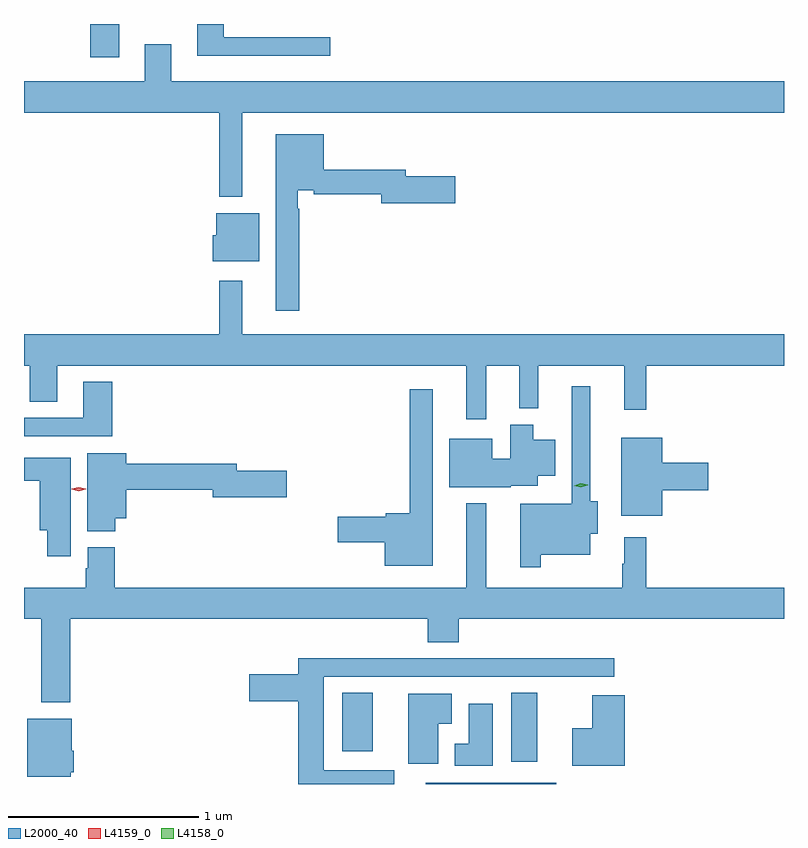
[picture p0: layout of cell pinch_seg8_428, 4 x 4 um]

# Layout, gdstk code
import gdstk
lib = gdstk.Library(unit=1e-6, precision=1e-09)
def R(c, l, rs):  # rectangles x0, y0, x1, y1
    for r in rs: c.add(gdstk.rectangle(r[:2], r[2:], *l))
def P(c, l, *ps):  # polygons
    for p in ps: c.add(gdstk.Polygon(p, *l))
L2000_40 = (2000, 40)
L4158_0 = (4158, 0)
L4159_0 = (4159, 0)

pinch_seg8_428 = lib.new_cell('pinch_seg8_428')
R(pinch_seg8_428, L2000_40, [(291.674,1139.606,292.36,1139.613), (292.124,1139.724,292.261,1140.086), (291.233,1139.778,291.394,1140.086), (289.907,1143.432,290.059,1143.606)])
P(pinch_seg8_428, L2000_40, [(291.172,1143.537),(290.611,1143.537),(290.611,1143.606),(290.471,1143.606),(290.471,1143.44),(291.172,1143.44)],
  [(290.707,1143.14),(293.559,1143.14),(293.559,1143.304),(290.335,1143.304),(290.335,1143.499),(290.195,1143.499),(290.195,1143.304),(289.559,1143.304),(289.559,1143.14),(290.586,1143.14),(290.586,1142.696),(290.707,1142.696)],
  [(291.007,1142.633),(290.999,1142.633),(290.999,1142.73),(291.085,1142.73),(291.085,1142.71),(291.44,1142.71),(291.44,1142.663),(291.829,1142.663),(291.829,1142.805),(291.568,1142.805),(291.568,1142.839),(291.136,1142.839),(291.136,1143.025),(290.885,1143.025),(290.885,1142.097),(291.007,1142.097)],
  [(290.797,1142.611),(290.57,1142.611),(290.57,1142.493),(290.552,1142.493),(290.552,1142.357),(290.797,1142.357)],
  [(291.991,1141.808),(292.166,1141.808),(292.166,1141.583),(292.265,1141.583),(292.265,1141.808),(292.718,1141.808),(292.718,1141.575),(292.835,1141.575),(292.835,1141.808),(293.559,1141.808),(293.559,1141.972),(290.707,1141.972),(290.707,1142.254),(290.586,1142.254),(290.586,1141.972),(289.559,1141.972),(289.559,1141.808),(289.588,1141.808),(289.588,1141.618),(289.735,1141.618),(289.735,1141.808),(291.887,1141.808),(291.887,1141.527),(291.991,1141.527)],
  [(290.024,1141.723),(289.871,1141.723),(289.871,1141.533),(289.559,1141.533),(289.559,1141.437),(290.024,1141.437)],
  [(292.279,1140.812),(292.54,1140.812),(292.54,1140.923),(292.579,1140.923),(292.579,1141.094),(292.54,1141.094),(292.54,1141.699),(292.443,1141.699),(292.443,1141.081),(292.17,1141.081),(292.17,1140.747),(292.279,1140.747)],
  [(291.709,1141.684),(291.588,1141.684),(291.588,1141.031),(291.462,1141.031),(291.462,1141.013),(291.21,1141.013),(291.21,1140.878),(291.458,1140.878),(291.458,1140.755),(291.709,1140.755)],
  [(292.122,1141.175),(292.264,1141.175),(292.264,1141.229),(292.354,1141.229),(292.354,1141.417),(292.24,1141.417),(292.24,1141.498),(292.118,1141.498),(292.118,1141.317),(292.024,1141.317),(292.024,1141.423),(291.797,1141.423),(291.797,1141.169),(292.122,1141.169)],
  [(292.918,1141.151),(293.161,1141.151),(293.161,1141.298),(292.918,1141.298),(292.918,1141.429),(292.703,1141.429),(292.703,1141.019),(292.918,1141.019)],
  [(290.039,1141.004),(290.098,1141.004),(290.098,1141.156),(290.552,1141.156),(290.552,1141.114),(290.941,1141.114),(290.941,1141.256),(290.68,1141.256),(290.68,1141.292),(290.098,1141.292),(290.098,1141.348),(289.892,1141.348),(289.892,1140.937),(290.039,1140.937)],
  [(289.804,1141.324),(289.559,1141.324),(289.559,1141.202),(289.643,1141.202),(289.643,1140.941),(289.682,1140.941),(289.682,1140.804),(289.804,1140.804)],
  [(291.683,1140.352),(291.848,1140.352),(291.848,1140.476),(293.559,1140.476),(293.559,1140.64),(292.835,1140.64),(292.835,1140.904),(292.718,1140.904),(292.718,1140.764),(292.707,1140.764),(292.707,1140.64),(291.991,1140.64),(291.991,1141.084),(291.887,1141.084),(291.887,1140.64),(290.036,1140.64),(290.036,1140.852),(289.895,1140.852),(289.895,1140.741),(289.883,1140.741),(289.883,1140.64),(289.559,1140.64),(289.559,1140.476),(289.649,1140.476),(289.649,1140.035),(289.802,1140.035),(289.802,1140.476),(291.683,1140.476)],
  [(291.507,1139.679),(291.136,1139.679),(291.136,1140.171),(292.666,1140.171),(292.666,1140.269),(291.931,1140.269),(291.931,1140.267),(291.599,1140.267),(291.599,1140.269),(291.002,1140.269),(291.002,1140.183),(290.745,1140.183),(290.745,1140.041),(291.002,1140.041),(291.002,1139.606),(291.507,1139.606)],
  [(291.739,1139.924),(291.811,1139.924),(291.811,1140.082),(291.581,1140.082),(291.581,1139.712),(291.739,1139.712)],
  [(292.721,1140.073),(292.55,1140.073),(292.55,1139.899),(292.445,1139.899),(292.445,1139.702),(292.721,1139.702)],
  [(292.027,1140.028),(291.899,1140.028),(291.899,1139.818),(291.825,1139.818),(291.825,1139.702),(292.027,1139.702)],
  [(289.806,1139.667),(289.822,1139.667),(289.822,1139.781),(289.81,1139.781),(289.81,1139.95),(289.577,1139.95),(289.577,1139.645),(289.806,1139.645)])
P(pinch_seg8_428, L4158_0, [(292.49,1141.168),(292.454,1141.176),(292.454,1141.177),(292.454,1141.177),(292.49,1141.188),(292.526,1141.18),(292.526,1141.179),(292.526,1141.179)])
P(pinch_seg8_428, L4159_0, [(289.847,1141.148),(289.809,1141.158),(289.809,1141.158),(289.809,1141.159),(289.847,1141.168),(289.885,1141.159),(289.885,1141.158),(289.885,1141.158)])

lib.write_gds('pinch_seg8_428.gds')
